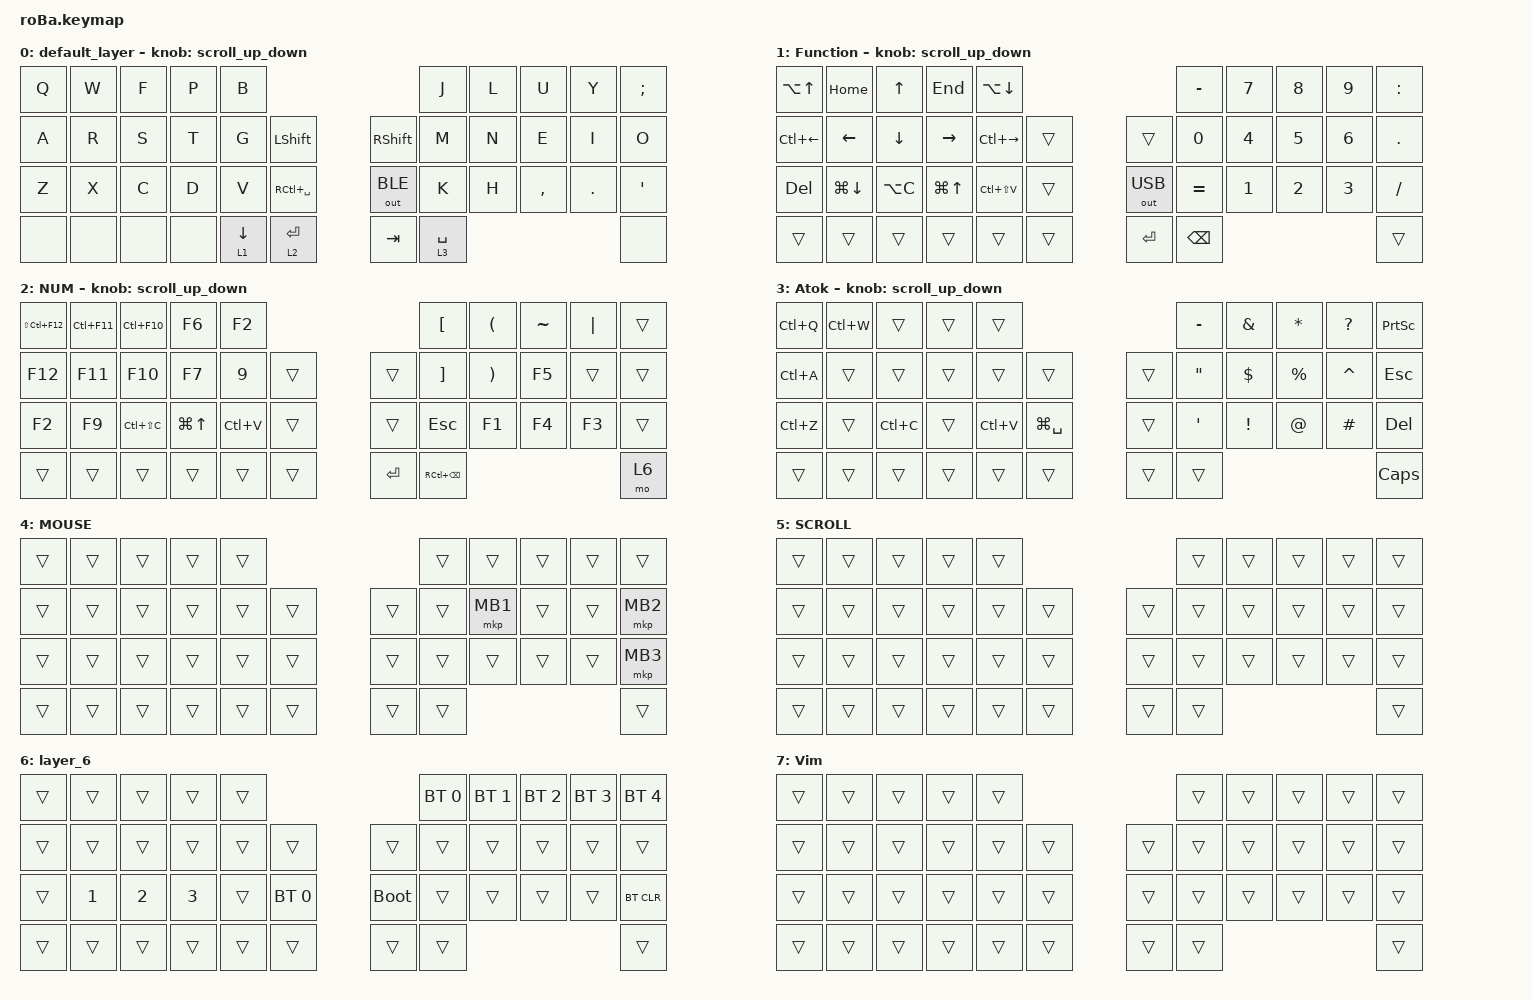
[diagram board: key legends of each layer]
#include <behaviors.dtsi>
#include <dt-bindings/zmk/bt.h>
#include <dt-bindings/zmk/keys.h>
#include <dt-bindings/zmk/outputs.h>
#include <dt-bindings/zmk/pointing.h>

#define ZMK_POINTING_DEFAULT_SCRL_VAL 100

&mt {
    flavor = "balanced";
    quick-tap-ms = <300>;
};

&lt {
    flavor = "balanced";
    quick-tap-ms = <300>;
};

&trackball {
    automouse-layer = <4>;
    scroll-layers = <5>;

    // arrows {
    //     layers = <3>;
    //     bindings =
    //         <&kp RIGHT_ARROW>,
    //         <&kp LEFT_ARROW>,
    //         <&kp UP_ARROW>,
    //         <&kp DOWN_ARROW>;
    //     tick = <10>;
    //     wait-ms = <5>;
    //     tap-ms = <5>;
    // };
};

/ {
    combos {
        compatible = "zmk,combos";

        RtShift {
            bindings = <&kp RIGHT_SHIFT>;
            key-positions = <18 19>;
        };

        RtWin {
            bindings = <&kp RIGHT_WIN>;
            key-positions = <20 19>;
        };

        RtAlt {
            bindings = <&kp RIGHT_ALT>;
            key-positions = <17 18>;
        };

        RtCtl {
            bindings = <&kp RIGHT_CONTROL>;
            key-positions = <20 21>;
        };

        LtShift {
            bindings = <&kp LEFT_SHIFT>;
            key-positions = <13 12>;
        };

        LtWin {
            bindings = <&kp LWIN>;
            key-positions = <11 12>;
        };

        LtAlt {
            bindings = <&kp LEFT_ALT>;
            key-positions = <14 13>;
        };

        LtCtl {
            bindings = <&kp LEFT_CONTROL>;
            key-positions = <10 11>;
        };
    };

    macros {
        to_layer_0: to_layer_0 {
            compatible = "zmk,behavior-macro-one-param";
            #binding-cells = <1>;
            bindings = <&to 0 &macro_param_1to1 &kp MACRO_PLACEHOLDER>;
            label = "TO_LAYER_0";
        };
    };

    behaviors {
        lt_to_layer_0: lt_to_layer_0 {
            compatible = "zmk,behavior-hold-tap";
            label = "LAYER_TAP_TO_0";
            bindings = <&mo>, <&to_layer_0>;

            #binding-cells = <2>;
            tapping-term-ms = <200>;
        };

        scroll_up_down: behavior_sensor_rotate_mouse_wheel_up_down {
            compatible = "zmk,behavior-sensor-rotate";
            #sensor-binding-cells = <0>;
            bindings = <&msc SCRL_UP>, <&msc SCRL_DOWN>;

            // 追加: スクロールのタップ時間を設定 (20ms)

            tap-ms = <20>;
        };
    };

    keymap {
        compatible = "zmk,keymap";

        default_layer {
            bindings = <
&kp Q  &kp W  &kp F  &kp P  &kp B                                                 &kp J        &kp L  &kp U      &kp Y    &kp SEMICOLON
&kp A  &kp R  &kp S  &kp T  &kp G             &kp LSHIFT         &kp RIGHT_SHIFT  &kp M        &kp N  &kp E      &kp I    &kp O
&kp Z  &kp X  &kp C  &kp D  &kp V             &kp RC(SPACE)      &out OUT_BLE     &kp K        &kp H  &kp COMMA  &kp DOT  &kp SQT
&none  &none  &none  &none  &lt 1 DOWN_ARROW  &lt 2 ENTER        &kp TAB          &lt 3 SPACE                             &none
            >;

            sensor-bindings = <&scroll_up_down>;
        };

        Function {
            bindings = <
&kp LA(UP_ARROW)    &kp HOME            &kp UP_ARROW    &kp END           &kp LA(DOWN_ARROW)                            &kp MINUS      &kp N7        &kp N8        &kp N9        &kp COLON
&kp LC(LEFT_ARROW)  &kp LEFT_ARROW      &kp DOWN_ARROW  &kp RIGHT         &kp LC(RIGHT)       &trans      &trans        &kp N0         &kp NUMBER_4  &kp N5        &kp NUMBER_6  &kp PERIOD
&kp DELETE          &kp LG(DOWN_ARROW)  &kp LA(C)       &kp LG(UP_ARROW)  &kp LC(LS(V))       &trans      &out OUT_USB  &kp EQUAL      &kp NUMBER_1  &kp NUMBER_2  &kp NUMBER_3  &kp SLASH
&trans              &trans              &trans          &trans            &trans              &trans      &kp ENTER     &kp BACKSPACE                                            &trans
            >;

            sensor-bindings = <&scroll_up_down>;
        };

        NUM {
            bindings = <
&kp LS(LC(F12))  &kp LC(F11)  &kp LC(F10)    &kp F6            &kp F2                            &kp LEFT_BRACKET   &kp LEFT_PARENTHESIS   &kp TILDE  &kp PIPE  &trans
&kp F12          &kp F11      &kp F10        &kp F7            &kp N9     &trans      &trans     &kp RIGHT_BRACKET  &kp RIGHT_PARENTHESIS  &kp F5     &trans    &trans
&kp F2           &kp F9       &kp LC(LS(C))  &kp LG(UP_ARROW)  &kp LC(V)  &trans      &trans     &kp ESCAPE         &kp F1                 &kp F4     &kp F3    &trans
&trans           &trans       &trans         &trans            &trans     &trans      &kp ENTER  &kp RC(BACKSPACE)                                              &mo 6
            >;

            sensor-bindings = <&scroll_up_down>;
        };

        Atok {
            bindings = <
&kp LC(Q)  &kp LC(W)  &trans     &trans  &trans                                &kp MINUS  &kp AMPERSAND    &kp ASTERISK  &kp QUESTION  &kp PRINTSCREEN
&kp LC(A)  &trans     &trans     &trans  &trans     &trans             &trans  &kp DQT    &kp DOLLAR       &kp PERCENT   &kp CARET     &kp ESCAPE
&kp LC(Z)  &trans     &kp LC(C)  &trans  &kp LC(V)  &kp LG(SPACE)      &trans  &kp SQT    &kp EXCLAMATION  &kp AT_SIGN   &kp HASH      &kp DELETE
&trans     &trans     &trans     &trans  &trans     &trans             &trans  &trans                                                  &kp CAPSLOCK
            >;

            sensor-bindings = <&scroll_up_down>;
        };

        MOUSE {
            bindings = <
&trans  &trans  &trans  &trans  &trans                      &trans  &trans    &trans  &trans  &trans
&trans  &trans  &trans  &trans  &trans  &trans      &trans  &trans  &mkp MB1  &trans  &trans  &mkp MB2
&trans  &trans  &trans  &trans  &trans  &trans      &trans  &trans  &trans    &trans  &trans  &mkp MB3
&trans  &trans  &trans  &trans  &trans  &trans      &trans  &trans                            &trans
            >;
        };

        SCROLL {
            bindings = <
&trans  &trans  &trans  &trans  &trans                      &trans  &trans  &trans  &trans  &trans
&trans  &trans  &trans  &trans  &trans  &trans      &trans  &trans  &trans  &trans  &trans  &trans
&trans  &trans  &trans  &trans  &trans  &trans      &trans  &trans  &trans  &trans  &trans  &trans
&trans  &trans  &trans  &trans  &trans  &trans      &trans  &trans                          &trans
            >;
        };

        layer_6 {
            bindings = <
&trans  &trans        &trans        &trans        &trans                                 &bt BT_SEL 0  &bt BT_SEL 1  &bt BT_SEL 2  &bt BT_SEL 3  &bt BT_SEL 4
&trans  &trans        &trans        &trans        &trans  &trans            &trans       &trans        &trans        &trans        &trans        &trans
&trans  &kp NUMBER_1  &kp NUMBER_2  &kp NUMBER_3  &trans  &bt BT_SEL 0      &bootloader  &trans        &trans        &trans        &trans        &bt BT_CLR
&trans  &trans        &trans        &trans        &trans  &trans            &trans       &trans                                                  &trans
            >;
        };

        Vim {
            bindings = <
&trans  &trans  &trans  &trans  &trans                      &trans  &trans  &trans  &trans  &trans
&trans  &trans  &trans  &trans  &trans  &trans      &trans  &trans  &trans  &trans  &trans  &trans
&trans  &trans  &trans  &trans  &trans  &trans      &trans  &trans  &trans  &trans  &trans  &trans
&trans  &trans  &trans  &trans  &trans  &trans      &trans  &trans                          &trans
            >;
        };
    };
};
